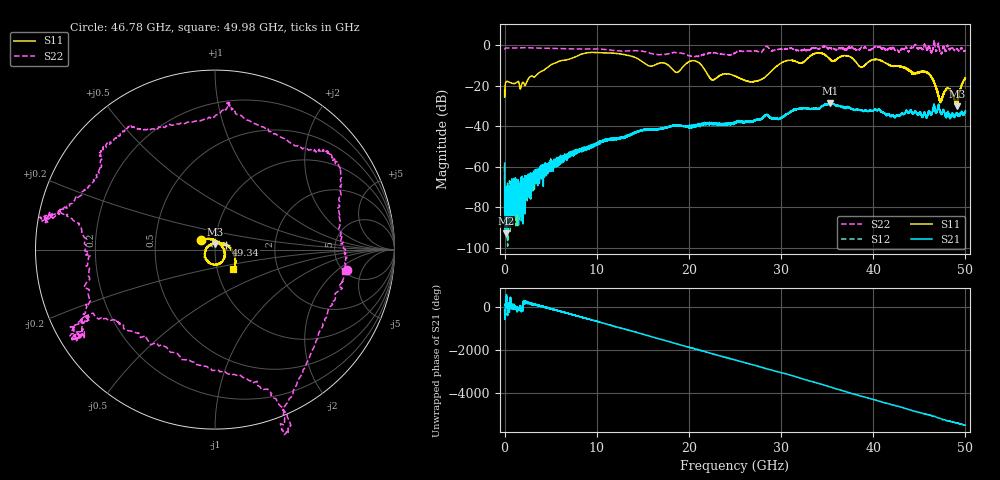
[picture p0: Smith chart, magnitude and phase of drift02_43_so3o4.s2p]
!Created with skrf (http://scikit-rf.org).
# Hz S RI R 50.0
!freq ReS11 ImS11 ReS21 ImS21 ReS12 ImS12 ReS22 ImS22
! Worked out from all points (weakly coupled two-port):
!   10001 points, 300 kHz to 50 GHz, reference 50 ohm
!   highest |S21| = -28.48 dB at 35.35 GHz (marker M1); lowest = -92.7 dB at 120.3 MHz (marker M2)
!   lowest |S11| = -30.1 dB at 49.06 GHz (marker M3), VSWR 1.06, Z = 49.9 + j3.11 ohm
!   |S11| at or under -10 dB: start of sweep to 4.957 GHz; 21.38 GHz to 29.63 GHz (8.251 GHz wide, 32.4 % of centre); 41.82 GHz to end of sweep (the widest 3 of 10)
!   |S22| runs from -5.7 to 2.3 dB; largest |S21 - S12| = 0.0034
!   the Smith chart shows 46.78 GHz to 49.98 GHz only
!   S11 on the Smith chart (normalised r, x): 46.78 GHz: 0.85, +0.09; 49.34 GHz: 1.13, +0.06; 49.98 GHz: 1.20, -0.26
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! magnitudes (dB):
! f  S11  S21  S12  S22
! 300 kHz  -22.3  -58.2  -59.8  -2.1
! 120.3 MHz  -18.3  -92.7  -83.2  -1.5
! 255.3 MHz  -17.9  -75.2  -70.5  -1.4
! 1.9 GHz  -18.8  -71.0  -67.5  -1.3
! 8.335 GHz  -4.5  -51.9  -51.5  -1.9
! 16.67 GHz  -9.1  -41.5  -41.4  -4.7
! 18.7 GHz  -13.5  -39.7  -39.5  -3.7
! 20.6 GHz  -7.7  -39.5  -39.9  -5.7
! 22.51 GHz  -17.1  -38.6  -38.6  -3.7
! 25 GHz  -15.3  -38.4  -38.3  -3.9
! 27.47 GHz  -17.6  -36.5  -36.4  -3.2
! 33.34 GHz  -4.9  -31.4  -31.4  -1.6
! 35.35 GHz  -7.1  -28.5  -28.8  -1.4
! 41.67 GHz  -9.7  -34.2  -34.2  -2.0
! 45.81 GHz  -13.5  -35.5  -35.3  -2.3
! 46.78 GHz  -20.5  -32.9  -32.9  -2.6
! 47.28 GHz  -27.2  -33.1  -33.0  -3.3
! 48.14 GHz  -21.6  -33.2  -33.3  -0.8
! 49.06 GHz  -30.1  -34.0  -33.7  -1.8
! 49.34 GHz  -23.4  -34.5  -34.3  -2.8
! 49.98 GHz  -16.5  -33.6  -32.7  -2.7
! 50 GHz  -16.3  -33.2  -33.2  -2.6
